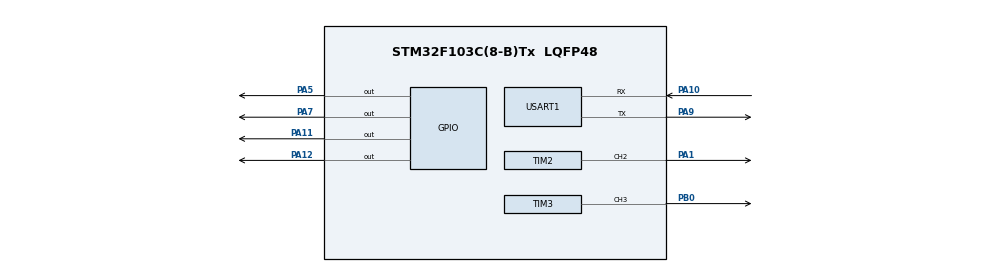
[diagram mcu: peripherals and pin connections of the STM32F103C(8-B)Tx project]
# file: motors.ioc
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Mcu.Family=STM32F1
Mcu.Name=STM32F103C(8-B)Tx
Mcu.Package=LQFP48
NVIC.PriorityGroup=NVIC_PRIORITYGROUP_4
NVIC.USART1_IRQn=true\:0\:0\:false\:false\:true\:true\:true\:true
PA1.Signal=S_TIM2_CH2
PA10.Mode=Asynchronous
PA10.Signal=USART1_RX
PA11.Signal=GPIO_Output
PA12.Signal=GPIO_Output
PA13.Mode=Serial_Wire
PA13.Signal=SYS_JTMS-SWDIO
PA14.Mode=Serial_Wire
PA14.Signal=SYS_JTCK-SWCLK
PA5.Signal=GPIO_Output
PA7.Signal=GPIO_Output
PA9.Mode=Asynchronous
PA9.Signal=USART1_TX
PB0.Signal=S_TIM3_CH3
ProjectManager.HeapSize=0x200
ProjectManager.StackSize=0x400
ProjectManager.TargetToolchain=STM32CubeIDE
RCC.APB1Freq_Value=8000000
RCC.APB2Freq_Value=8000000
SH.S_TIM2_CH2.0=TIM2_CH2,PWM Generation2 CH2
SH.S_TIM3_CH3.0=TIM3_CH3,PWM Generation3 CH3
TIM2.Channel-PWM\ Generation2\ CH2=TIM_CHANNEL_2
TIM2.Period=625
TIM2.Prescaler=127
TIM3.Channel-PWM\ Generation3\ CH3=TIM_CHANNEL_3
TIM3.Period=625
TIM3.Prescaler=127
USART1.VirtualMode=VM_ASYNC
VP_TIM2_VS_ClockSourceINT.Mode=Internal
VP_TIM3_VS_ClockSourceINT.Mode=Internal
board=custom

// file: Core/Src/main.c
/* USER CODE BEGIN Header */
/**
  ******************************************************************************
  * @file           : main.c
  * @brief          : Main program body
  ******************************************************************************
  * @attention
  *
  * Copyright (c) 2026 STMicroelectronics.
  * All rights reserved.
  *
  * This software is licensed under terms that can be found in the LICENSE file
  * in the root directory of this software component.
  * If no LICENSE file comes with this software, it is provided AS-IS.
  *
  ******************************************************************************
  */
/* USER CODE END Header */
#include "main.h"

TIM_HandleTypeDef htim2;
TIM_HandleTypeDef htim3;

UART_HandleTypeDef huart1;

void SystemClock_Config(void);
static void MX_GPIO_Init(void);
static void MX_TIM2_Init(void);
static void MX_USART1_UART_Init(void);
static void MX_TIM3_Init(void);

/* USER CODE BEGIN 0 */

uint8_t rxByte = 0;
uint8_t currentCommand = 0;
/* USER CODE END 0 */

int main(void)
{

  /* MCU Configuration--------------------------------------------------------*/

  /* Reset of all peripherals, Initializes the Flash interface and the Systick. */
  HAL_Init();

  /* Configure the system clock */
  SystemClock_Config();

  /* Initialize all configured peripherals */
  MX_GPIO_Init();
  MX_TIM2_Init();
  MX_USART1_UART_Init();
  MX_TIM3_Init();
  /* USER CODE BEGIN 2 */
  HAL_Delay(1000);
  HAL_TIM_PWM_Start(&htim2, TIM_CHANNEL_2);
  HAL_TIM_PWM_Start(&htim3, TIM_CHANNEL_3);
  /* USER CODE END 2 */

  /* Infinite loop */
  /* USER CODE BEGIN WHILE */
  while (1)
  {
    // Проверяем есть ли новая команда (без блокировки)
    if (HAL_UART_Receive(&huart1, &rxByte, 1, 10) == HAL_OK)  // Уменьшил timeout до 10 мс
    {
      HAL_UART_Transmit(&huart1, &rxByte, 1, 100);
      currentCommand = rxByte;  // Запоминаем команду
    }

    // Выполняем текущую команду постоянно
    switch (currentCommand)
    {
      case 3:  // Поворот вправо
        HAL_GPIO_WritePin(GPIOA, GPIO_PIN_7, 0);
        HAL_GPIO_WritePin(GPIOA, GPIO_PIN_5, 1);
        __HAL_TIM_SET_COMPARE(&htim2, TIM_CHANNEL_2, 500);

        HAL_GPIO_WritePin(GPIOA, GPIO_PIN_11, 0);
        HAL_GPIO_WritePin(GPIOA, GPIO_PIN_12, 1);
        __HAL_TIM_SET_COMPARE(&htim3, TIM_CHANNEL_3, 500);
        break;

      case 2:  // Поворот влево
        HAL_GPIO_WritePin(GPIOA, GPIO_PIN_5, 0);
        HAL_GPIO_WritePin(GPIOA, GPIO_PIN_7, 1);
        __HAL_TIM_SET_COMPARE(&htim2, TIM_CHANNEL_2, 500);

        HAL_GPIO_WritePin(GPIOA, GPIO_PIN_12, 0);
        HAL_GPIO_WritePin(GPIOA, GPIO_PIN_11, 1);
        __HAL_TIM_SET_COMPARE(&htim3, TIM_CHANNEL_3, 500);
        break;

      case 0:  // Стоп
        __HAL_TIM_SET_COMPARE(&htim2, TIM_CHANNEL_2, 0);
        __HAL_TIM_SET_COMPARE(&htim3, TIM_CHANNEL_3, 0);
        break;
    }

    HAL_Delay(100);  // Маленькая задержка для стабильности
    /* USER CODE END WHILE */

  }
}

void SystemClock_Config(void)
{
  RCC_OscInitTypeDef RCC_OscInitStruct = {0};
  RCC_ClkInitTypeDef RCC_ClkInitStruct = {0};

  /** Initializes the RCC Oscillators according to the specified parameters
  * in the RCC_OscInitTypeDef structure.
  */
  RCC_OscInitStruct.OscillatorType = RCC_OSCILLATORTYPE_HSI;
  RCC_OscInitStruct.HSIState = RCC_HSI_ON;
  RCC_OscInitStruct.HSICalibrationValue = RCC_HSICALIBRATION_DEFAULT;
  RCC_OscInitStruct.PLL.PLLState = RCC_PLL_NONE;
  if (HAL_RCC_OscConfig(&RCC_OscInitStruct) != HAL_OK)
  {
    Error_Handler();
  }

  /** Initializes the CPU, AHB and APB buses clocks
  */
  RCC_ClkInitStruct.ClockType = RCC_CLOCKTYPE_HCLK|RCC_CLOCKTYPE_SYSCLK
                              |RCC_CLOCKTYPE_PCLK1|RCC_CLOCKTYPE_PCLK2;
  RCC_ClkInitStruct.SYSCLKSource = RCC_SYSCLKSOURCE_HSI;
  RCC_ClkInitStruct.AHBCLKDivider = RCC_SYSCLK_DIV1;
  RCC_ClkInitStruct.APB1CLKDivider = RCC_HCLK_DIV1;
  RCC_ClkInitStruct.APB2CLKDivider = RCC_HCLK_DIV1;

  if (HAL_RCC_ClockConfig(&RCC_ClkInitStruct, FLASH_LATENCY_0) != HAL_OK)
  {
    Error_Handler();
  }
}

static void MX_TIM2_Init(void)
{

  TIM_ClockConfigTypeDef sClockSourceConfig = {0};
  TIM_MasterConfigTypeDef sMasterConfig = {0};
  TIM_OC_InitTypeDef sConfigOC = {0};

  htim2.Instance = TIM2;
  htim2.Init.Prescaler = 127;
  htim2.Init.CounterMode = TIM_COUNTERMODE_UP;
  htim2.Init.Period = 625;
  htim2.Init.ClockDivision = TIM_CLOCKDIVISION_DIV1;
  htim2.Init.AutoReloadPreload = TIM_AUTORELOAD_PRELOAD_DISABLE;
  if (HAL_TIM_Base_Init(&htim2) != HAL_OK)
  {
    Error_Handler();
  }
  sClockSourceConfig.ClockSource = TIM_CLOCKSOURCE_INTERNAL;
  if (HAL_TIM_ConfigClockSource(&htim2, &sClockSourceConfig) != HAL_OK)
  {
    Error_Handler();
  }
  if (HAL_TIM_PWM_Init(&htim2) != HAL_OK)
  {
    Error_Handler();
  }
  sMasterConfig.MasterOutputTrigger = TIM_TRGO_RESET;
  sMasterConfig.MasterSlaveMode = TIM_MASTERSLAVEMODE_DISABLE;
  if (HAL_TIMEx_MasterConfigSynchronization(&htim2, &sMasterConfig) != HAL_OK)
  {
    Error_Handler();
  }
  sConfigOC.OCMode = TIM_OCMODE_PWM1;
  sConfigOC.Pulse = 0;
  sConfigOC.OCPolarity = TIM_OCPOLARITY_HIGH;
  sConfigOC.OCFastMode = TIM_OCFAST_DISABLE;
  if (HAL_TIM_PWM_ConfigChannel(&htim2, &sConfigOC, TIM_CHANNEL_2) != HAL_OK)
  {
    Error_Handler();
  }
  HAL_TIM_MspPostInit(&htim2);

}

static void MX_TIM3_Init(void)
{

  TIM_ClockConfigTypeDef sClockSourceConfig = {0};
  TIM_MasterConfigTypeDef sMasterConfig = {0};
  TIM_OC_InitTypeDef sConfigOC = {0};

  htim3.Instance = TIM3;
  htim3.Init.Prescaler = 127;
  htim3.Init.CounterMode = TIM_COUNTERMODE_UP;
  htim3.Init.Period = 625;
  htim3.Init.ClockDivision = TIM_CLOCKDIVISION_DIV1;
  htim3.Init.AutoReloadPreload = TIM_AUTORELOAD_PRELOAD_DISABLE;
  if (HAL_TIM_Base_Init(&htim3) != HAL_OK)
  {
    Error_Handler();
  }
  sClockSourceConfig.ClockSource = TIM_CLOCKSOURCE_INTERNAL;
  if (HAL_TIM_ConfigClockSource(&htim3, &sClockSourceConfig) != HAL_OK)
  {
    Error_Handler();
  }
  if (HAL_TIM_PWM_Init(&htim3) != HAL_OK)
  {
    Error_Handler();
  }
  sMasterConfig.MasterOutputTrigger = TIM_TRGO_RESET;
  sMasterConfig.MasterSlaveMode = TIM_MASTERSLAVEMODE_DISABLE;
  if (HAL_TIMEx_MasterConfigSynchronization(&htim3, &sMasterConfig) != HAL_OK)
  {
    Error_Handler();
  }
  sConfigOC.OCMode = TIM_OCMODE_PWM1;
  sConfigOC.Pulse = 0;
  sConfigOC.OCPolarity = TIM_OCPOLARITY_HIGH;
  sConfigOC.OCFastMode = TIM_OCFAST_DISABLE;
  if (HAL_TIM_PWM_ConfigChannel(&htim3, &sConfigOC, TIM_CHANNEL_3) != HAL_OK)
  {
    Error_Handler();
  }
  HAL_TIM_MspPostInit(&htim3);

}

static void MX_USART1_UART_Init(void)
{

  huart1.Instance = USART1;
  huart1.Init.BaudRate = 115200;
  huart1.Init.WordLength = UART_WORDLENGTH_8B;
  huart1.Init.StopBits = UART_STOPBITS_1;
  huart1.Init.Parity = UART_PARITY_NONE;
  huart1.Init.Mode = UART_MODE_TX_RX;
  huart1.Init.HwFlowCtl = UART_HWCONTROL_NONE;
  huart1.Init.OverSampling = UART_OVERSAMPLING_16;
  if (HAL_UART_Init(&huart1) != HAL_OK)
  {
    Error_Handler();
  }

}

static void MX_GPIO_Init(void)
{
  GPIO_InitTypeDef GPIO_InitStruct = {0};

  /* GPIO Ports Clock Enable */
  __HAL_RCC_GPIOA_CLK_ENABLE();
  __HAL_RCC_GPIOB_CLK_ENABLE();

  /*Configure GPIO pin Output Level */
  HAL_GPIO_WritePin(GPIOA, GPIO_PIN_5|GPIO_PIN_7|GPIO_PIN_11|GPIO_PIN_12, GPIO_PIN_RESET);

  /*Configure GPIO pins : PA5 PA7 PA11 PA12 */
  GPIO_InitStruct.Pin = GPIO_PIN_5|GPIO_PIN_7|GPIO_PIN_11|GPIO_PIN_12;
  GPIO_InitStruct.Mode = GPIO_MODE_OUTPUT_PP;
  GPIO_InitStruct.Pull = GPIO_NOPULL;
  GPIO_InitStruct.Speed = GPIO_SPEED_FREQ_LOW;
  HAL_GPIO_Init(GPIOA, &GPIO_InitStruct);

}

void Error_Handler(void)
{
  __disable_irq();
  while (1)
  {
  }
}
